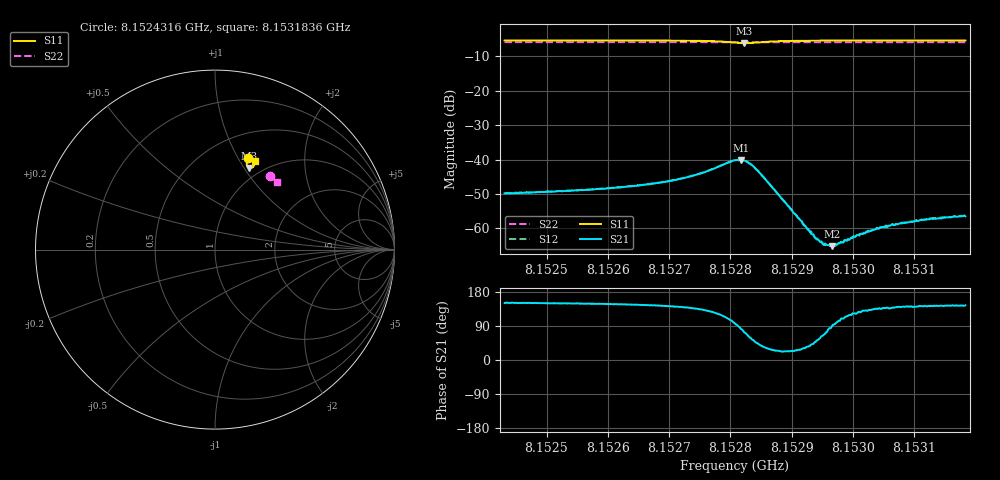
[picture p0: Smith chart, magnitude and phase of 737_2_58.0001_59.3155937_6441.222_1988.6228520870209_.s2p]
#  HZ  S  RI  R  50.00
! Rohde & Schwarz Vector Network Analyzer
! Rohde-Schwarz,ZNB20-2Port,1311601062101988,3.16
! Created: UTC 3/21/2024, 1:23:20 AM
! freq[Hz]  re:S11  im:S11  re:S21  im:S21  re:S12  im:S12  re:S22  im:S22
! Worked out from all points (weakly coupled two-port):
!   401 points, 8.1524316 GHz to 8.1531836 GHz, reference 50 ohm
!   highest |S21| = -40.06 dB at 8.152817 GHz (marker M1); lowest = -65.1 dB at 8.1529655 GHz (marker M2)
!   lowest |S11| = -6.1 dB at 8.1528226 GHz (marker M3), VSWR 2.95, Z = 43.8 + j52.8 ohm
!   |S11| at or under -10 dB: nowhere
!   |S22| runs from -5.9 to -5.8 dB; largest |S21 - S12| = 0.0004
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8.15243155e9  0.1845 0.5078  -0.00281 0.0016  -0.00281 0.00162  0.3071 0.4088
8.15255752e9  0.1946 0.504  -0.0031 0.00187  -0.00311 0.0019  0.3134 0.4038
8.15261769e9  0.2 0.5015  -0.00329 0.00216  -0.00333 0.00219  0.3164 0.4013
8.15268349e9  0.2068 0.4977  -0.0037 0.00273  -0.00372 0.00282  0.3198 0.3983
8.15271734e9  0.2111 0.4941  -0.00403 0.00334  -0.004 0.00344  0.3214 0.3967
8.15274742e9  0.2157 0.4887  -0.00432 0.00437  -0.00427 0.00449  0.3228 0.3955
8.15280759e9  0.2088 0.4577  -0.00108 0.00975  -0.00086 0.00981  0.3249 0.3921
8.15281699e9  0.1982 0.4545  0.00133 0.00984  0.00137 0.00984  0.325 0.3918
8.15282263e9  0.191 0.4555  0.00279 0.0093  0.00299 0.00924  0.325 0.3916
8.15283579e9  0.1785 0.4662  0.00494 0.00663  0.00485 0.00652  0.3254 0.3918
8.15284895e9  0.1765 0.4791  0.00488 0.00394  0.00492 0.00386  0.3261 0.3917
8.15293356e9  0.1994 0.4981  0.000607 0.00055  0.000616 0.000577  0.3312 0.3886
8.15294108e9  0.2008 0.4981  0.000431 0.000543  0.00045 0.000557  0.3315 0.3882
8.1529486e9  0.202 0.4981  0.000293 0.00057  0.00035 0.000542  0.3319 0.388
8.15295612e9  0.2032 0.498  0.000182 0.000562  0.000173 0.000532  0.3322 0.3875
8.15296552e9  0.2044 0.4978  1.63e-05 0.000554  3.81e-05 0.000594  0.3327 0.3871
8.15297492e9  0.2057 0.4977  -0.000112 0.000585  -9.1e-05 0.00059  0.3331 0.3869
8.15301064e9  0.21 0.4969  -0.000499 0.00066  -0.00046 0.000634  0.3348 0.3854
8.15302193e9  0.2111 0.4967  -0.000589 0.00068  -0.000574 0.000666  0.3354 0.3848
8.15305953e9  0.2147 0.4956  -0.000784 0.000764  -0.000793 0.000748  0.3372 0.3831
8.1531291e9  0.2208 0.4937  -0.0011 0.000847  -0.0011 0.00089  0.3407 0.3802
8.15318362e9  0.2249 0.4919  -0.00122 0.000877  -0.00121 0.000929  0.3429 0.3777
